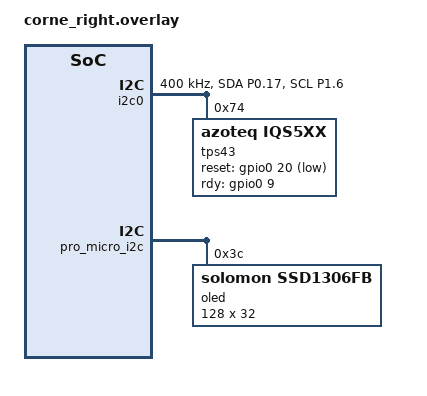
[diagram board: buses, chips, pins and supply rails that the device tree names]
/*
 * Copyright (c) 2020 Pete Johanson
 *
 * SPDX-License-Identifier: MIT
 */

#include "corne.dtsi"

&default_transform {
    col-offset = <6>;
};

&five_column_transform {
    col-offset = <6>;
};

&kscan0 {
    col-gpios
        = <&pro_micro 14 GPIO_ACTIVE_HIGH>
        , <&pro_micro 15 GPIO_ACTIVE_HIGH>
        , <&pro_micro 18 GPIO_ACTIVE_HIGH>
        , <&pro_micro 19 GPIO_ACTIVE_HIGH>
        , <&pro_micro 20 GPIO_ACTIVE_HIGH>
        , <&pro_micro 21 GPIO_ACTIVE_HIGH>
        ;
};

&pinctrl {
    touchpad_i2c_default: touchpad_i2c_default {
        group1 {
            psels = <NRF_PSEL(TWIM_SDA, 0, 17)>,
                    <NRF_PSEL(TWIM_SCL, 1, 6)>;
        };
    };

    touchpad_i2c_sleep: touchpad_i2c_sleep {
            group1 {
                psels = <NRF_PSEL(TWIM_SDA, 0, 17)>,
                        <NRF_PSEL(TWIM_SCL, 1, 6)>;
                low-power-enable;
            };
        };
    };


/ {
    chosen { zephyr,display = &oled; };

    tps43_input: tps43_input {
        compatible = "zmk,input-listener";
        device = <&tps43>;
    };
};

&i2c0 {
    status = "okay";
    clock-frequency = <I2C_BITRATE_FAST>;

    pinctrl-0 = <&touchpad_i2c_default>;
    pinctrl-1 = <&touchpad_i2c_sleep>;
    pinctrl-names = "default", "sleep";

    tps43: iqs5xx@74 {
        status = "okay";
        compatible = "azoteq,iqs5xx";
        reg = <0x74>;

        reset-gpios = <&gpio0 20 GPIO_ACTIVE_LOW>;
        rdy-gpios = <&gpio0 9 GPIO_ACTIVE_HIGH>;

        one-finger-tap;
        two-finger-tap;
        press-and-hold;
        press-and-hold-time = <250>;

        scroll;
        natural-scroll-y;
        natural-scroll-x;

        bottom-beta = <5>;
        stationary-threshold = <5>;

        /* enable later if orientation feels wrong */
    };
};

&pro_micro_i2c {
    status = "okay";

    oled: ssd1306@3c {
        compatible = "solomon,ssd1306fb";
        reg = <0x3c>;
        width = <128>;
        height = <32>;
        segment-offset = <0>;
        page-offset = <0>;
        display-offset = <0>;
        multiplex-ratio = <31>;
        segment-remap;
        com-invdir;
        com-sequential;
        inversion-on;
        prechargep = <0x22>;
    };
};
